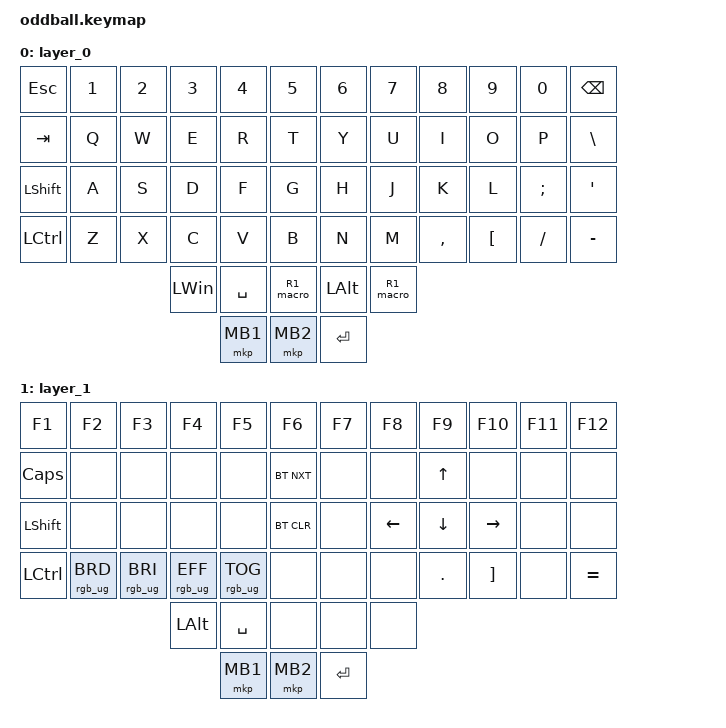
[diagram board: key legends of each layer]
#include <behaviors.dtsi>
#include <dt-bindings/zmk/bt.h>
#include <dt-bindings/zmk/keys.h>
#include <dt-bindings/zmk/mouse.h>
#include <dt-bindings/zmk/outputs.h>
#include <dt-bindings/zmk/rgb.h>


/ {


//start

  macros {
        R1_macro: RGB_macro {
            compatible = "zmk,behavior-macro";
            label = "RGB_MACRO";
            #binding-cells = <0>;
            wait-ms = <0>;
            tap-ms = <0>;
            bindings = <&macro_press &mo 1>
         , <&macro_tap &rgb_ug RGB_COLOR_HSB(128,100,100)>
         , <&macro_pause_for_release>
         , <&macro_release &mo 1>
         , <&macro_tap &rgb_ug RGB_COLOR_HSB(300,100,50)>;
        };
    };

//end
   keymap {
        compatible = "zmk,keymap";

       layer_0 {
            bindings = <
&kp ESC         &kp N1  &kp N2  &kp N3        &kp N4     &kp N5      &kp N6     &kp N7     &kp N8     &kp N9            &kp N0    &kp BACKSPACE
&kp TAB         &kp Q   &kp W   &kp E         &kp R      &kp T       &kp Y      &kp U      &kp I      &kp O             &kp P     &kp BSLH
&kp LEFT_SHIFT  &kp A   &kp S   &kp D         &kp F      &kp G       &kp H      &kp J      &kp K      &kp L             &kp SEMI  &kp SQT
&kp LCTRL       &kp Z   &kp X   &kp C         &kp V      &kp B       &kp N      &kp M      &kp COMMA  &kp LEFT_BRACKET  &kp FSLH  &kp MINUS
                                &kp LEFT_WIN  &kp SPACE  &R1_macro       &kp LALT   &R1_macro
                                              &mkp MB1   &mkp MB2    &kp ENTER
            >;
        };

     layer_1 {
              bindings = <
&kp F1          &kp F2           &kp F3           &kp F4           &kp F5           &kp F6        &kp F7     &kp F8    &kp F9      &kp F10            &kp F11  &kp F12
&kp CAPS        &none            &none            &none            &none            &bt BT_NXT    &none      &none     &kp UP      &none              &none    &none
&kp LEFT_SHIFT  &none            &none            &none            &none            &bt BT_CLR    &none      &kp LEFT  &kp DOWN    &kp RIGHT          &none    &none
&kp LCTRL       &rgb_ug RGB_BRD  &rgb_ug RGB_BRI  &rgb_ug RGB_EFF  &rgb_ug RGB_TOG  &none         &none      &none     &kp PERIOD  &kp RIGHT_BRACKET  &none    &kp EQUAL
                                                  &kp LEFT_ALT     &kp SPACE        &none         &none      &none
                                                                   &mkp MB1         &mkp MB2      &kp ENTER
            >;
        };

        /*Symbol {
            label = "Symbol";
            bindings = <
&trans  &kp EXCL       &kp AT               &kp HASH              &kp DLLR        &kp PRCNT               &kp CARET             &kp AMPS         &kp ASTERISK         &kp LPAR                        &kp RPAR            &trans
&trans  &kp ESCAPE     &kp CAPSLOCK         &kp HOME              &kp END         &as UNDERSCORE MINUS    &as UNDERSCORE MINUS  &kp RIGHT_SHIFT  &kp PAGE_UP          &kp PAGE_DOWN                   &as PIPE BACKSLASH  &trans
&trans  &kp BACKSPACE  &as COLON SEMICOLON  &as GREATER_THAN DOT  &as PLUS EQUAL  &as TILDE GRAVE         &as TILDE GRAVE       &as PLUS EQUAL   &as LESS_THAN COMMA  &as DOUBLE_QUOTES SINGLE_QUOTE  &kp DELETE          &trans
                                            &trans                &trans          &trans                                                         &trans
            >;
        };

        Modify {
            label = "Modify";
            bindings = <
&trans  &kp LG(Q)  &kp LG(W)  &kp LG(E)  &kp LG(R)  &kp LG(T)    &kp SLASH        &kp NUMBER_7  &kp NUMBER_8  &kp NUMBER_9  &kp NUMBER_0  &trans
&trans  &kp LG(A)  &kp LG(S)  &kp LG(D)  &kp LG(F)  &kp LG(G)    &kp KP_MULTIPLY  &kp NUMBER_4  &kp N5        &kp NUMBER_6  &kp MINUS     &trans
&trans  &kp LG(Z)  &kp LG(X)  &kp LG(C)  &kp LG(V)  &kp LG(B)    &kp PLUS         &kp NUMBER_1  &kp NUMBER_2  &kp NUMBER_3  &kp EQUAL     &trans
                              &trans     &trans     &trans                                      &trans
            >;
        };

        Flash {
            label = "Flash";
            bindings = <
&dongle_bootload_macro  &trans  &trans        &trans  &trans  &trans    &bt BT_SEL 0  &bt BT_SEL 1  &bt BT_SEL 2  &bt BT_SEL 3  &bt BT_SEL 4  &trans
&bt BT_CLR              &trans  &trans        &trans  &trans  &trans    &trans        &trans        &trans        &trans        &trans        &trans
&bt BT_CLR_ALL          &none   &out OUT_TOG  &trans  &trans  &trans    &trans        &trans        &trans        &trans        &trans        &trans
                                              &trans  &trans  &trans                                &trans
            >;
        };

        Mouse {
            bindings = <
&trans  &trans  &trans          &msc SCRL_UP    &trans           &trans    &trans  &trans     &trans     &trans     &trans  &trans
&trans  &trans  &msc SCRL_LEFT  &msc SCRL_DOWN  &msc SCRL_RIGHT  &trans    &trans  &mkp LCLK  &mkp MCLK  &mkp RCLK  &trans  &trans
&trans  &trans  &trans          &trans          &trans           &trans    &trans  &trans     &trans     &trans     &trans  &trans
                                &trans          &trans           &trans                       &trans
            >;

            label = "Mouse";
        };

        Sniper {
            bindings = <
&trans  &trans  &trans  &trans  &trans  &trans    &trans  &trans     &trans     &trans     &trans  &trans
&trans  &trans  &trans  &trans  &trans  &trans    &trans  &mkp LCLK  &mkp MCLK  &mkp RCLK  &trans  &trans
&trans  &trans  &trans  &trans  &trans  &trans    &trans  &trans     &trans     &trans     &trans  &trans
                        &trans  &trans  &trans                       &trans
            >;

            label = "Sniper";
        };

        Number {
            bindings = <
&trans  &kp NUMBER_1   &kp NUMBER_2         &kp NUMBER_3             &kp NUMBER_4    &kp N5                  &kp NUMBER_6          &kp N7          &kp NUMBER_8          &kp NUMBER_9                    &kp NUMBER_0        &trans
&trans  &kp ESCAPE     &kp CAPS             &kp HOME                 &kp END         &as UNDERSCORE MINUS    &as UNDERSCORE MINUS  &kp LEFT_SHIFT  &kp PAGE_UP           &kp PAGE_DOWN                   &as PIPE BACKSLASH  &trans
&trans  &kp BACKSPACE  &as COLON SEMICOLON  &as GREATER_THAN PERIOD  &as PLUS EQUAL  &as TILDE GRAVE         &as TILDE GRAVE       &as PLUS EQUAL  &as LESS_THAN PERIOD  &as DOUBLE_QUOTES SINGLE_QUOTE  &kp DEL             &trans
                                            &trans                   &trans          &trans                                                        &trans
            >;

            label = "Number";
        }; */
    };

   };
